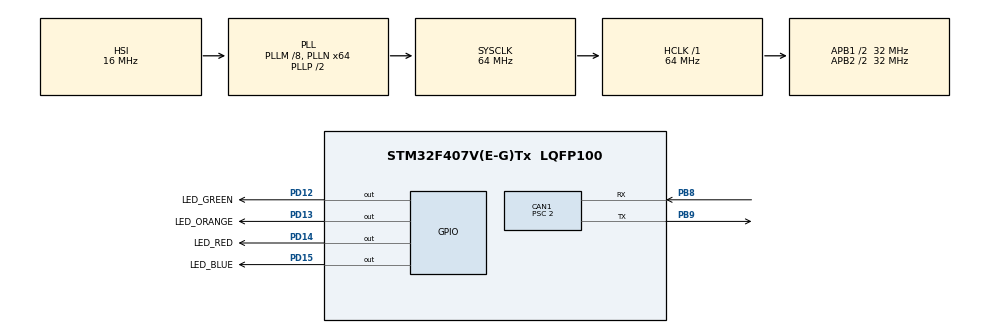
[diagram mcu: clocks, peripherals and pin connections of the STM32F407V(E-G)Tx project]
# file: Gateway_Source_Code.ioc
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CAN1.BS1=CAN_BS1_13TQ
CAN1.BS2=CAN_BS2_2TQ
CAN1.CalculateBaudRate=1000000
CAN1.CalculateTimeBit=1000
CAN1.CalculateTimeQuantum=62.5
CAN1.Prescaler=2
Mcu.Family=STM32F4
Mcu.Name=STM32F407V(E-G)Tx
Mcu.Package=LQFP100
NVIC.CAN1_RX0_IRQn=true\:0\:0\:false\:false\:true\:true\:true\:true
NVIC.PriorityGroup=NVIC_PRIORITYGROUP_0
PB8.GPIO_PuPd=GPIO_PULLUP
PB8.Mode=CAN_Activate
PB8.Signal=CAN1_RX
PB9.GPIO_PuPd=GPIO_PULLUP
PB9.Mode=CAN_Activate
PB9.Signal=CAN1_TX
PD12.GPIO_Label=LED_GREEN
PD12.Signal=GPIO_Output
PD13.GPIO_Label=LED_ORANGE
PD13.Signal=GPIO_Output
PD14.GPIO_Label=LED_RED
PD14.Signal=GPIO_Output
PD15.GPIO_Label=LED_BLUE
PD15.Signal=GPIO_Output
ProjectManager.HeapSize=0x200
ProjectManager.StackSize=0x400
ProjectManager.TargetToolchain=STM32CubeIDE
RCC.48MHZClocksFreq_Value=18285714.285714287
RCC.AHBFreq_Value=64000000
RCC.APB1CLKDivider=RCC_HCLK_DIV2
RCC.APB1Freq_Value=32000000
RCC.APB1TimFreq_Value=64000000
RCC.APB2CLKDivider=RCC_HCLK_DIV2
RCC.APB2Freq_Value=32000000
RCC.APB2TimFreq_Value=64000000
RCC.CortexFreq_Value=64000000
RCC.HCLKFreq_Value=64000000
RCC.HSE_VALUE=8000000
RCC.HSI_VALUE=16000000
RCC.LSE_VALUE=32768
RCC.PLLM=8
RCC.PLLN=64
RCC.PLLQ=7
RCC.SYSCLKFreq_VALUE=64000000
RCC.SYSCLKSource=RCC_SYSCLKSOURCE_PLLCLK
RCC.VCOOutputFreq_Value=128000000
board=STM32F407G-DISC1

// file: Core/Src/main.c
/* USER CODE BEGIN Header */
/**
  ******************************************************************************
  * @file           : main.c
  * @brief          : Main program body
  ******************************************************************************
  * @attention
  *
  * Copyright (c) 2024 STMicroelectronics.
  * All rights reserved.
  *
  * This software is licensed under terms that can be found in the LICENSE file
  * in the root directory of this software component.
  * If no LICENSE file comes with this software, it is provided AS-IS.
  *
  ******************************************************************************
  */
/* USER CODE END Header */
#include "main.h"

/* USER CODE BEGIN PD */
#define CAN_RECIEV_MSG_SIZE 1
#define DOMINANT 0
/* USER CODE END PD */

CAN_HandleTypeDef hcan1;

/* USER CODE BEGIN PV */
uint8_t CanReceivFlag = 0;
uint8_t reciev_msg[CAN_RECIEV_MSG_SIZE];
/* USER CODE END PV */

void SystemClock_Config(void);
static void MX_GPIO_Init(void);
static void MX_CAN1_Init(void);
/* USER CODE BEGIN PFP */
static void CAN1_Filter_Config(void);
static void CAN1_Rx(void);
/* USER CODE END PFP */

int main(void)
{

  /* MCU Configuration--------------------------------------------------------*/

  /* Reset of all peripherals, Initializes the Flash interface and the Systick. */
  HAL_Init();

  /* Configure the system clock */
  SystemClock_Config();

  /* Initialize all configured peripherals */
  MX_GPIO_Init();
  MX_CAN1_Init();
  /* USER CODE BEGIN 2 */
  CAN1_Filter_Config();
  if (HAL_CAN_Start(&hcan1) != HAL_OK)
  {
      Error_Handler();
  }
  if ( HAL_CAN_ActivateNotification(&hcan1, CAN_IT_RX_FIFO0_MSG_PENDING ) != HAL_OK )
  {
      Error_Handler();
  }

  /* USER CODE END 2 */

  /* Infinite loop */
  while (1)
  {

  }
}

void SystemClock_Config(void)
{
  RCC_OscInitTypeDef RCC_OscInitStruct = {0};
  RCC_ClkInitTypeDef RCC_ClkInitStruct = {0};

  /** Configure the main internal regulator output voltage
  */
  __HAL_RCC_PWR_CLK_ENABLE();
  __HAL_PWR_VOLTAGESCALING_CONFIG(PWR_REGULATOR_VOLTAGE_SCALE1);

  /** Initializes the RCC Oscillators according to the specified parameters
  * in the RCC_OscInitTypeDef structure.
  */
  RCC_OscInitStruct.OscillatorType = RCC_OSCILLATORTYPE_HSI;
  RCC_OscInitStruct.HSIState = RCC_HSI_ON;
  RCC_OscInitStruct.HSICalibrationValue = RCC_HSICALIBRATION_DEFAULT;
  RCC_OscInitStruct.PLL.PLLState = RCC_PLL_ON;
  RCC_OscInitStruct.PLL.PLLSource = RCC_PLLSOURCE_HSI;
  RCC_OscInitStruct.PLL.PLLM = 8;
  RCC_OscInitStruct.PLL.PLLN = 64;
  RCC_OscInitStruct.PLL.PLLP = RCC_PLLP_DIV2;
  RCC_OscInitStruct.PLL.PLLQ = 7;
  if (HAL_RCC_OscConfig(&RCC_OscInitStruct) != HAL_OK)
  {
    Error_Handler();
  }

  /** Initializes the CPU, AHB and APB buses clocks
  */
  RCC_ClkInitStruct.ClockType = RCC_CLOCKTYPE_HCLK|RCC_CLOCKTYPE_SYSCLK
                              |RCC_CLOCKTYPE_PCLK1|RCC_CLOCKTYPE_PCLK2;
  RCC_ClkInitStruct.SYSCLKSource = RCC_SYSCLKSOURCE_PLLCLK;
  RCC_ClkInitStruct.AHBCLKDivider = RCC_SYSCLK_DIV1;
  RCC_ClkInitStruct.APB1CLKDivider = RCC_HCLK_DIV2;
  RCC_ClkInitStruct.APB2CLKDivider = RCC_HCLK_DIV2;

  if (HAL_RCC_ClockConfig(&RCC_ClkInitStruct, FLASH_LATENCY_2) != HAL_OK)
  {
    Error_Handler();
  }
}

static void MX_CAN1_Init(void)
{

  hcan1.Instance = CAN1;
  hcan1.Init.Prescaler = 2;
  hcan1.Init.Mode = CAN_MODE_NORMAL;
  hcan1.Init.SyncJumpWidth = CAN_SJW_1TQ;
  hcan1.Init.TimeSeg1 = CAN_BS1_13TQ;
  hcan1.Init.TimeSeg2 = CAN_BS2_2TQ;
  hcan1.Init.TimeTriggeredMode = DISABLE;
  hcan1.Init.AutoBusOff = DISABLE;
  hcan1.Init.AutoWakeUp = DISABLE;
  hcan1.Init.AutoRetransmission = DISABLE;
  hcan1.Init.ReceiveFifoLocked = DISABLE;
  hcan1.Init.TransmitFifoPriority = DISABLE;
  if (HAL_CAN_Init(&hcan1) != HAL_OK)
  {
    Error_Handler();
  }

}

static void MX_GPIO_Init(void)
{
  GPIO_InitTypeDef GPIO_InitStruct = {0};

  /* GPIO Ports Clock Enable */
  __HAL_RCC_GPIOD_CLK_ENABLE();
  __HAL_RCC_GPIOB_CLK_ENABLE();

  /*Configure GPIO pin Output Level */
  HAL_GPIO_WritePin(GPIOD, LED_GREEN_Pin|LED_ORANGE_Pin|LED_RED_Pin|LED_BLUE_Pin, GPIO_PIN_RESET);

  /*Configure GPIO pins : LED_GREEN_Pin LED_ORANGE_Pin LED_RED_Pin LED_BLUE_Pin */
  GPIO_InitStruct.Pin = LED_GREEN_Pin|LED_ORANGE_Pin|LED_RED_Pin|LED_BLUE_Pin;
  GPIO_InitStruct.Mode = GPIO_MODE_OUTPUT_PP;
  GPIO_InitStruct.Pull = GPIO_NOPULL;
  GPIO_InitStruct.Speed = GPIO_SPEED_FREQ_LOW;
  HAL_GPIO_Init(GPIOD, &GPIO_InitStruct);

}

/* USER CODE BEGIN 4 */
static void CAN1_Filter_Config(void)
{
    CAN_FilterTypeDef can1_filter_init;
    can1_filter_init.FilterActivation = ENABLE;
    can1_filter_init.FilterBank = 0;
    can1_filter_init.FilterFIFOAssignment = CAN_RX_FIFO0;
    can1_filter_init.FilterIdHigh = 0x002 << 5;
    can1_filter_init.FilterIdLow = 0x000;
    can1_filter_init.FilterMaskIdHigh = 0xFFC << 5;
    can1_filter_init.FilterMaskIdLow = 0x000;
    can1_filter_init.FilterMode = CAN_FILTERMODE_IDMASK;
    can1_filter_init.FilterScale = CAN_FILTERSCALE_32BIT;
    if (HAL_CAN_ConfigFilter(&hcan1, &can1_filter_init) != HAL_OK) {
        Error_Handler();
    }
}

static void CAN1_Rx(void)
{
    CAN_RxHeaderTypeDef RxHeader;

    if (HAL_CAN_GetRxMessage(&hcan1, CAN_RX_FIFO0, &RxHeader, reciev_msg) != HAL_OK)
    {
        Error_Handler();
    }

    if (RxHeader.RTR == DOMINANT) {
        if ( 1 == reciev_msg[0] )
        {
		  	HAL_GPIO_WritePin(LED_ORANGE_GPIO_Port,LED_ORANGE_Pin, SET);
		  	HAL_GPIO_WritePin(LED_RED_GPIO_Port, LED_RED_Pin, RESET);
		  	HAL_GPIO_WritePin(LED_BLUE_GPIO_Port, LED_BLUE_Pin, RESET);
		  	HAL_GPIO_WritePin(LED_GREEN_GPIO_Port, LED_GREEN_Pin, RESET);
        }
        else if ( 2 == reciev_msg[0] )
        {
		    HAL_GPIO_WritePin(LED_ORANGE_GPIO_Port,LED_ORANGE_Pin, SET);
		    HAL_GPIO_WritePin(LED_RED_GPIO_Port, LED_RED_Pin, SET);
		    HAL_GPIO_WritePin(LED_BLUE_GPIO_Port, LED_BLUE_Pin, RESET);
		    HAL_GPIO_WritePin(LED_GREEN_GPIO_Port, LED_GREEN_Pin, RESET);
        }
        else if ( 3 == reciev_msg[0] )
        {
		    HAL_GPIO_WritePin(LED_RED_GPIO_Port, LED_RED_Pin, SET);
	  	    HAL_GPIO_WritePin(LED_ORANGE_GPIO_Port, LED_ORANGE_Pin, SET);
	  	    HAL_GPIO_WritePin(LED_BLUE_GPIO_Port, LED_BLUE_Pin, SET);
	  	    HAL_GPIO_WritePin(LED_GREEN_GPIO_Port, LED_GREEN_Pin, RESET);
        }
        else if ( 4 == reciev_msg[0] )
        {
		    HAL_GPIO_WritePin(LED_BLUE_GPIO_Port, LED_BLUE_Pin, SET);
		  	HAL_GPIO_WritePin(LED_RED_GPIO_Port, LED_RED_Pin, SET);
		  	HAL_GPIO_WritePin(LED_ORANGE_GPIO_Port, LED_ORANGE_Pin, SET);
		  	HAL_GPIO_WritePin(LED_GREEN_GPIO_Port, LED_GREEN_Pin, SET);
        }
    }
}

void HAL_CAN_RxFifo0MsgPendingCallback(CAN_HandleTypeDef *hcan) {
    if (hcan->Instance == CAN1)
    {
		  CAN1_Rx();
       // ++CanReceivFlag;
    }
}

/* USER CODE END 4 */

void Error_Handler(void)
{
  __disable_irq();
  while (1)
  {
  }
}
